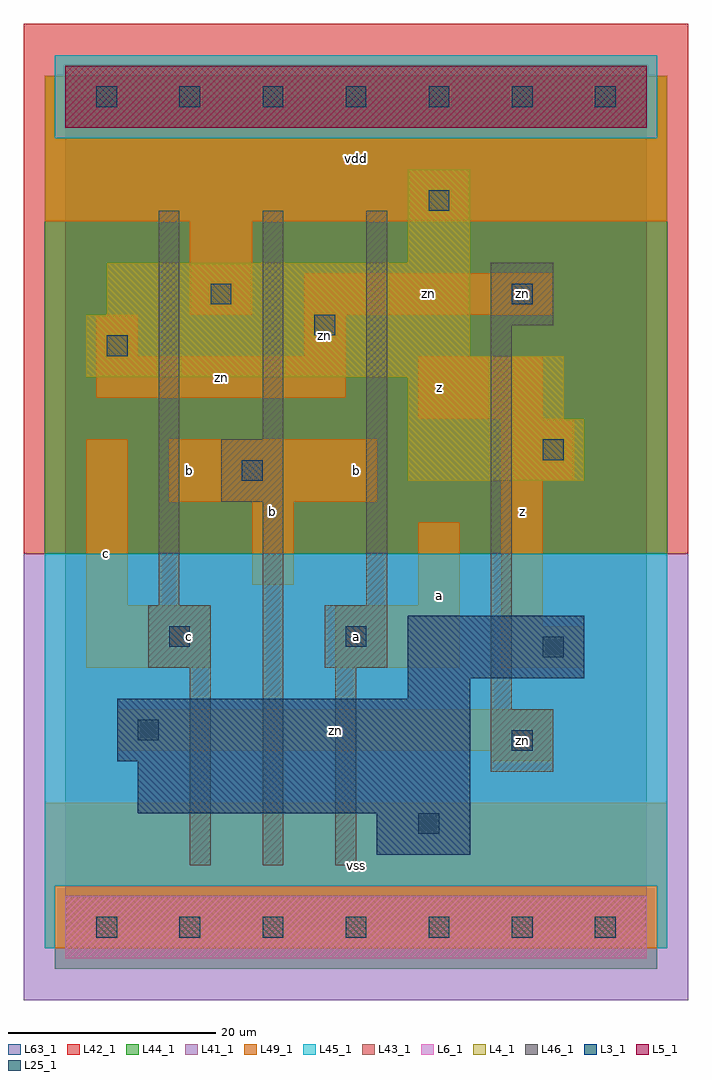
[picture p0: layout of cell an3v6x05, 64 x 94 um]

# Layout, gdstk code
import gdstk
lib = gdstk.Library(unit=1e-6, precision=1e-09)
def R(c, l, rs):  # rectangles x0, y0, x1, y1
    for r in rs: c.add(gdstk.rectangle(r[:2], r[2:], *l))
def A(c, l, x, y, w, h, nx, ny, dx, dy):  # array of equal rectangles
    R(c, l, [(x+i*dx, y+j*dy, x+i*dx+w, y+j*dy+h) for i in range(nx) for j in range(ny)])
L3_1 = (3, 1)
L4_1 = (4, 1)
L5_1 = (5, 1)
L6_1 = (6, 1)
L25_1 = (25, 1)
L41_1 = (41, 1)
L42_1 = (42, 1)
L43_1 = (43, 1)
L44_1 = (44, 1)
L45_1 = (45, 1)
L46_1 = (46, 1)
L49_1 = (49, 1)
L63_1 = (63, 1)

an3v6x05 = lib.new_cell('an3v6x05')
R(an3v6x05, L3_1, [(30,7,39,11), (7,11,39,16), (5,16,39,22), (33,22,39,24), (33,24,50,30)])
R(an3v6x05, L4_1, [(33,43,50,49), (33,49,48,53), (2,53,48,55), (2,55,39,59), (4,59,39,64), (33,64,39,73)])
R(an3v6x05, L5_1, [(0,77,56,83)])
R(an3v6x05, L6_1, [(0,-3,56,3), (0,-3,56,3)])
A(an3v6x05, L25_1, 3, -1, 2, 2, 7, 2, 8, 80)
R(an3v6x05, L25_1, [(34,9,36,11), (43,17,45,19), (7,18,9,20), (46,26,48,28), (10,27,12,29), (27,27,29,29), (17,43,19,45), (46,45,48,47), (4,55,6,57), (24,57,26,59), (14,60,16,62), (43,60,45,62), (35,69,37,71)])
R(an3v6x05, L41_1, [(-4,-7,60,36)])
R(an3v6x05, L42_1, [(-4,36,60,87)])
R(an3v6x05, L43_1, [(0,-3,56,3), (30,7,39,11), (7,11,39,16), (5,16,39,22), (33,22,39,24), (33,24,50,30), (33,43,50,49), (33,49,48,53), (2,53,48,55), (2,55,39,59), (4,59,39,64), (33,64,39,73), (0,77,56,83)])
R(an3v6x05, L44_1, [(-1,-4,57,4), (-2,36,58,76), (-2,76,-1,82), (57,76,58,82)])
R(an3v6x05, L45_1, [(-2,-2,-1,4), (57,-2,58,4), (-2,4,58,36), (-1,76,57,84)])
R(an3v6x05, L46_1, [(12,6,14,25), (19,6,21,41), (26,6,28,25), (41,15,47,21), (41,21,43,58), (8,25,14,31), (25,25,31,31), (9,31,11,69), (29,31,31,69), (15,41,21,47), (19,47,21,69), (41,58,47,64)])
R(an3v6x05, L49_1, [(-2,-2,58,12), (41,16,47,17), (5,17,47,21), (2,25,14,31), (26,25,38,31), (42,25,50,29), (42,29,46,43), (2,31,6,47), (34,31,38,39), (18,33,22,41), (10,41,30,47), (42,43,49,49), (34,49,46,55), (3,51,27,55), (3,55,7,59), (23,55,27,59), (12,59,18,68), (23,59,47,63), (-2,68,58,82)])
R(an3v6x05, L63_1, [(0,0,56,80)])
an3v6x05.add(gdstk.Label('zn', (44,18), layer=49, texttype=1))
an3v6x05.add(gdstk.Label('zn', (44,61), layer=49, texttype=1))
an3v6x05.add(gdstk.Label('c', (4,36), layer=49, texttype=1))
an3v6x05.add(gdstk.Label('c', (12,28), layer=49, texttype=1))
an3v6x05.add(gdstk.Label('b', (20,40), layer=49, texttype=1))
an3v6x05.add(gdstk.Label('b', (12,44), layer=49, texttype=1))
an3v6x05.add(gdstk.Label('zn', (15,53), layer=49, texttype=1))
an3v6x05.add(gdstk.Label('zn', (25,57), layer=49, texttype=1))
an3v6x05.add(gdstk.Label('vss', (28,6), layer=49, texttype=1))
an3v6x05.add(gdstk.Label('a', (28,28), layer=49, texttype=1))
an3v6x05.add(gdstk.Label('a', (36,32), layer=49, texttype=1))
an3v6x05.add(gdstk.Label('b', (28,44), layer=49, texttype=1))
an3v6x05.add(gdstk.Label('z', (36,52), layer=49, texttype=1))
an3v6x05.add(gdstk.Label('vdd', (28,74), layer=49, texttype=1))
an3v6x05.add(gdstk.Label('zn', (26,19), layer=49, texttype=1))
an3v6x05.add(gdstk.Label('z', (44,40), layer=49, texttype=1))
an3v6x05.add(gdstk.Label('zn', (35,61), layer=49, texttype=1))

lib.write_gds('an3v6x05.gds')
